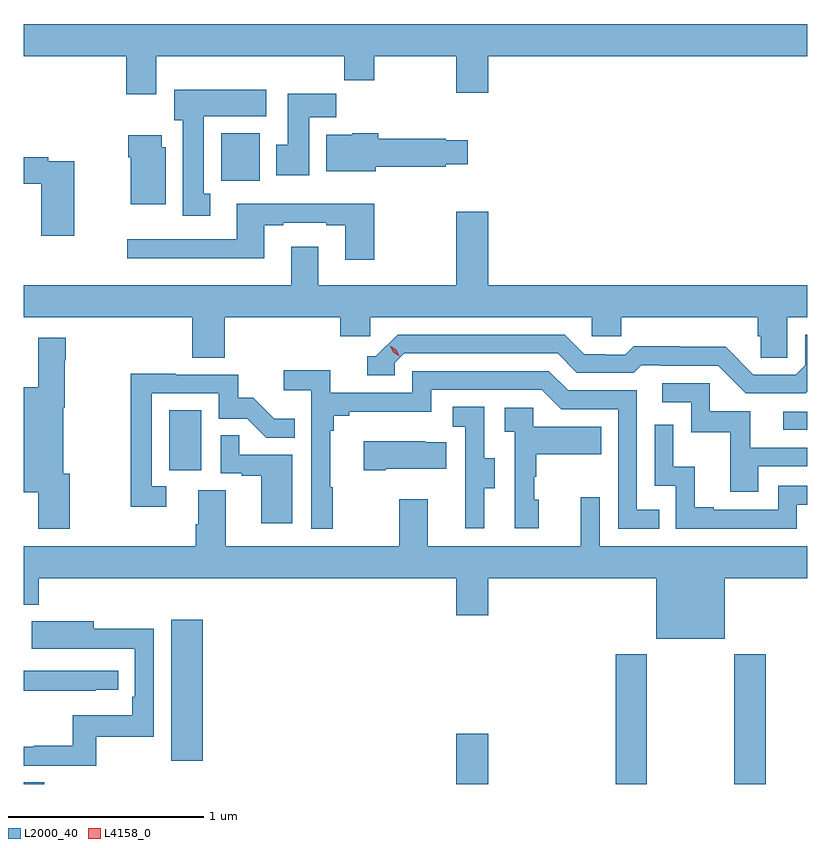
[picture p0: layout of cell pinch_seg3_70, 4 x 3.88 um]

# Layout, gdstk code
import gdstk
lib = gdstk.Library(unit=1e-6, precision=1e-09)
def R(c, l, rs):  # rectangles x0, y0, x1, y1
    for r in rs: c.add(gdstk.rectangle(r[:2], r[2:], *l))
def P(c, l, *ps):  # polygons
    for p in ps: c.add(gdstk.Polygon(p, *l))
L2000_40 = (2000, 40)
L4158_0 = (4158, 0)

pinch_seg3_70 = lib.new_cell('pinch_seg3_70')
R(pinch_seg3_70, L2000_40, [(1025.936,735.83,1026.041,735.839), (1028.144,735.83,1028.308,736.087), (1028.957,735.83,1029.117,736.492), (1029.562,735.83,1029.722,736.492), (1026.689,735.948,1026.85,736.669), (1026.68,737.43,1026.844,737.737), (1029.813,737.637,1029.936,737.73), (1026.944,738.908,1027.141,739.15)])
P(pinch_seg3_70, L2000_40, [(1026.613,739.544),(1027.573,739.544),(1027.573,739.42),(1027.725,739.42),(1027.725,739.544),(1028.144,739.544),(1028.144,739.356),(1028.308,739.356),(1028.308,739.544),(1029.936,739.544),(1029.936,739.708),(1025.936,739.708),(1025.936,739.544),(1026.461,739.544),(1026.461,739.35),(1026.613,739.35)],
  [(1026.889,738.842),(1026.856,738.842),(1026.856,739.238),(1027.174,739.238),(1027.174,739.372),(1026.704,739.372),(1026.704,739.218),(1026.749,739.218),(1026.749,738.729),(1026.889,738.729)],
  [(1027.393,739.232),(1027.532,739.232),(1027.532,739.351),(1027.283,739.351),(1027.283,739.092),(1027.226,739.092),(1027.226,738.936),(1027.393,738.936)],
  [(1027.732,738.98),(1028.09,738.98),(1028.09,738.992),(1028.203,738.992),(1028.203,739.114),(1028.09,739.114),(1028.09,739.122),(1027.745,739.122),(1027.745,739.15),(1027.614,739.15),(1027.614,739.144),(1027.481,739.144),(1027.481,738.956),(1027.732,738.956)],
  [(1026.661,739.08),(1026.64,739.08),(1026.64,739.141),(1026.47,739.141),(1026.47,739.028),(1026.482,739.028),(1026.482,738.788),(1026.661,738.788)],
  [(1026.196,739.008),(1026.062,739.008),(1026.062,739.028),(1025.936,739.028),(1025.936,738.892),(1026.026,738.892),(1026.026,738.627),(1026.196,738.627)],
  [(1027.725,738.79),(1027.025,738.79),(1027.025,738.609),(1026.465,738.609),(1026.465,738.512),(1027.165,738.512),(1027.165,738.681),(1027.261,738.681),(1027.261,738.693),(1027.481,738.693),(1027.481,738.681),(1027.577,738.681),(1027.577,738.504),(1027.725,738.504)],
  [(1026.962,738.212),(1027.553,738.212),(1027.553,738.114),(1027.704,738.114),(1027.704,738.212),(1028.835,738.212),(1028.835,738.114),(1028.985,738.114),(1028.985,738.212),(1029.683,738.212),(1029.683,738.114),(1029.697,738.114),(1029.697,738.004),(1029.834,738.004),(1029.834,738.212),(1029.936,738.212),(1029.936,738.376),(1028.308,738.376),(1028.308,738.751),(1028.144,738.751),(1028.144,738.376),(1027.441,738.376),(1027.441,738.571),(1027.301,738.571),(1027.301,738.376),(1025.936,738.376),(1025.936,738.212),(1026.797,738.212),(1026.797,738.004),(1026.962,738.004)],
  [(1029.936,737.832),(1029.936,738.123),(1029.924,738.123),(1029.924,737.967),(1029.876,737.919),(1029.66,737.919),(1029.518,738.061),(1029.282,738.061),(1029.282,738.064),(1029.049,738.064),(1029.007,738.021),(1028.904,738.021),(1028.904,738.024),(1028.797,738.024),(1028.698,738.123),(1027.845,738.123),(1027.734,738.012),(1027.691,738.012),(1027.691,737.916),(1027.83,737.916),(1027.83,737.979),(1027.878,738.027),(1028.661,738.027),(1028.76,737.928),(1029.049,737.928),(1029.088,737.967),(1029.187,737.967),(1029.187,737.964),(1029.48,737.964),(1029.621,737.823),(1029.927,737.823)],
  [(1026.171,737.412),(1026.139,737.412),(1026.139,737.75),(1026.147,737.75),(1026.147,737.993),(1026.152,737.993),(1026.152,738.106),(1026.011,738.106),(1026.011,737.854),(1025.936,737.854),(1025.936,737.319),(1026.011,737.319),(1026.011,737.133),(1026.171,737.133)],
  [(1027.513,737.345),(1027.501,737.345),(1027.501,737.633),(1027.52,737.633),(1027.52,737.71),(1027.597,737.71),(1027.597,737.729),(1028.016,737.729),(1028.016,737.841),(1028.58,737.841),(1028.679,737.742),(1028.97,737.742),(1028.97,737.133),(1029.179,737.133),(1029.179,737.229),(1029.066,737.229),(1029.066,737.838),(1028.716,737.838),(1028.617,737.937),(1027.92,737.937),(1027.92,737.826),(1027.502,737.826),(1027.502,737.942),(1027.263,737.942),(1027.263,737.84),(1027.404,737.84),(1027.404,737.133),(1027.513,737.133)],
  [(1026.664,737.349),(1026.591,737.349),(1026.591,737.823),(1026.933,737.823),(1026.933,737.694),(1027.077,737.694),(1027.175,737.596),(1027.319,737.596),(1027.319,737.695),(1027.215,737.695),(1027.108,737.802),(1027.032,737.802),(1027.032,737.919),(1026.713,737.919),(1026.713,737.924),(1026.483,737.924),(1026.483,737.244),(1026.664,737.244)],
  [(1029.685,737.451),(1029.936,737.451),(1029.936,737.547),(1029.643,737.547),(1029.643,737.733),(1029.438,737.733),(1029.438,737.874),(1029.195,737.874),(1029.195,737.778),(1029.342,737.778),(1029.342,737.625),(1029.541,737.625),(1029.541,737.322),(1029.685,737.322)],
  [(1028.287,737.338),(1028.341,737.338),(1028.341,737.493),(1028.286,737.493),(1028.286,737.756),(1028.127,737.756),(1028.127,737.653),(1028.19,737.653),(1028.19,737.349),(1028.189,737.349),(1028.189,737.136),(1028.287,737.136)],
  [(1028.566,737.28),(1028.541,737.28),(1028.541,737.399),(1028.551,737.399),(1028.551,737.513),(1028.885,737.513),(1028.885,737.653),(1028.538,737.653),(1028.538,737.751),(1028.391,737.751),(1028.391,737.627),(1028.442,737.627),(1028.442,737.136),(1028.566,737.136)],
  [(1029.882,737.256),(1029.936,737.256),(1029.936,737.352),(1029.786,737.352),(1029.786,737.229),(1029.457,737.229),(1029.457,737.242),(1029.362,737.242),(1029.362,737.45),(1029.252,737.45),(1029.252,737.662),(1029.156,737.662),(1029.156,737.352),(1029.264,737.352),(1029.264,737.133),(1029.882,737.133)],
  [(1027.306,737.511),(1027.037,737.511),(1027.037,737.609),(1026.942,737.609),(1026.942,737.415),(1027.049,737.415),(1027.049,737.403),(1027.148,737.403),(1027.148,737.16),(1027.306,737.16)],
  [(1027.783,737.438),(1028.093,737.438),(1028.093,737.575),(1027.985,737.575),(1027.985,737.578),(1027.671,737.578),(1027.671,737.431),(1027.783,737.431)],
  [(1029.514,736.88),(1029.936,736.88),(1029.936,737.044),(1028.877,737.044),(1028.877,737.293),(1028.78,737.293),(1028.78,737.044),(1027.999,737.044),(1027.999,737.284),(1027.852,737.284),(1027.852,737.044),(1026.967,737.044),(1026.967,737.33),(1026.827,737.33),(1026.827,737.156),(1026.815,737.156),(1026.815,737.044),(1025.936,737.044),(1025.936,736.745),(1026.014,736.745),(1026.014,736.88),(1028.144,736.88),(1028.144,736.692),(1028.308,736.692),(1028.308,736.88),(1029.164,736.88),(1029.164,736.571),(1029.514,736.571)],
  [(1026.307,736.071),(1026.6,736.071),(1026.6,736.622),(1026.295,736.622),(1026.295,736.66),(1025.977,736.66),(1025.977,736.52),(1026.191,736.52),(1026.191,736.521),(1026.504,736.521),(1026.504,736.276),(1026.491,736.276),(1026.491,736.18),(1026.186,736.18),(1026.186,736.025),(1025.989,736.025),(1025.989,736.02),(1025.936,736.02),(1025.936,735.924),(1026.307,735.924)],
  [(1026.305,736.311),(1026.418,736.311),(1026.418,736.407),(1025.936,736.407),(1025.936,736.306),(1026.305,736.306)])
P(pinch_seg3_70, L4158_0, [(1027.853,738.012),(1027.822,738.032),(1027.807,738.065),(1027.807,738.065),(1027.807,738.065),(1027.838,738.045),(1027.853,738.012),(1027.853,738.012)])

lib.write_gds('pinch_seg3_70.gds')
